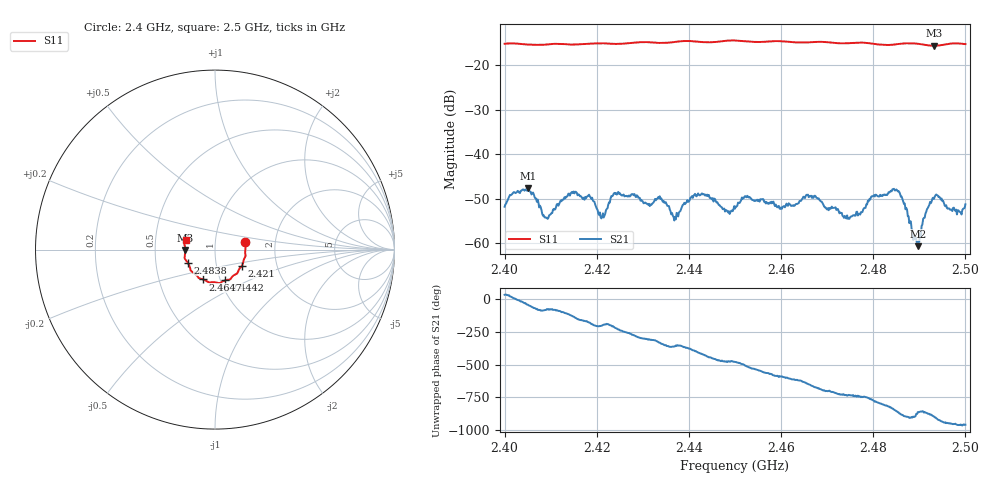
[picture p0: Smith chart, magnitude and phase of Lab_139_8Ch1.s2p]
# Hz S RI R 50
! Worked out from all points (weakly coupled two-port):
!   601 points, 2.4 GHz to 2.5 GHz, reference 50 ohm
!   highest |S21| = -47.67 dB at 2.405 GHz (marker M1); lowest = -60.6 dB at 2.4897 GHz (marker M2)
!   lowest |S11| = -15.6 dB at 2.4932 GHz (marker M3), VSWR 1.40, Z = 35.8 - j0.13 ohm
!   |S11| at or under -10 dB: start of sweep to end of sweep
!   S12 and S22 are empty: the file has one direction only
!   S11 on the Smith chart (normalised r, x): 2.4 GHz: 1.40, +0.12; 2.421 GHz: 1.33, -0.24; 2.4442 GHz: 1.05, -0.37; 2.4647 GHz: 0.83, -0.29; 2.4838 GHz: 0.73, -0.11; 2.5 GHz: 0.71, +0.08
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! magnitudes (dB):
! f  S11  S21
! 2.4 GHz  -15.2  -51.8
! 2.405 GHz  -15.4  -47.7
! 2.409 GHz  -15.4  -54.3
! 2.4142 GHz  -15.4  -49.3
! 2.4167 GHz  -15.3  -49.5
! 2.421 GHz  -15.1  -54.4
! 2.4242 GHz  -15.2  -48.7
! 2.4333 GHz  -15.0  -49.6
! 2.4372 GHz  -14.8  -54.6
! 2.4408 GHz  -14.6  -49.8
! 2.4442 GHz  -14.9  -49.4
! 2.45 GHz  -14.5  -52.2
! 2.4523 GHz  -14.6  -49.5
! 2.4647 GHz  -14.9  -49.9
! 2.4667 GHz  -14.8  -49.8
! 2.4745 GHz  -15.1  -54.5
! 2.4833 GHz  -15.5  -48.5
! 2.4838 GHz  -15.5  -48.2
! 2.4858 GHz  -15.2  -49.0
! 2.4897 GHz  -15.2  -60.6
! 2.4932 GHz  -15.6  -50.1
! 2.5 GHz  -15.3  -51.2
